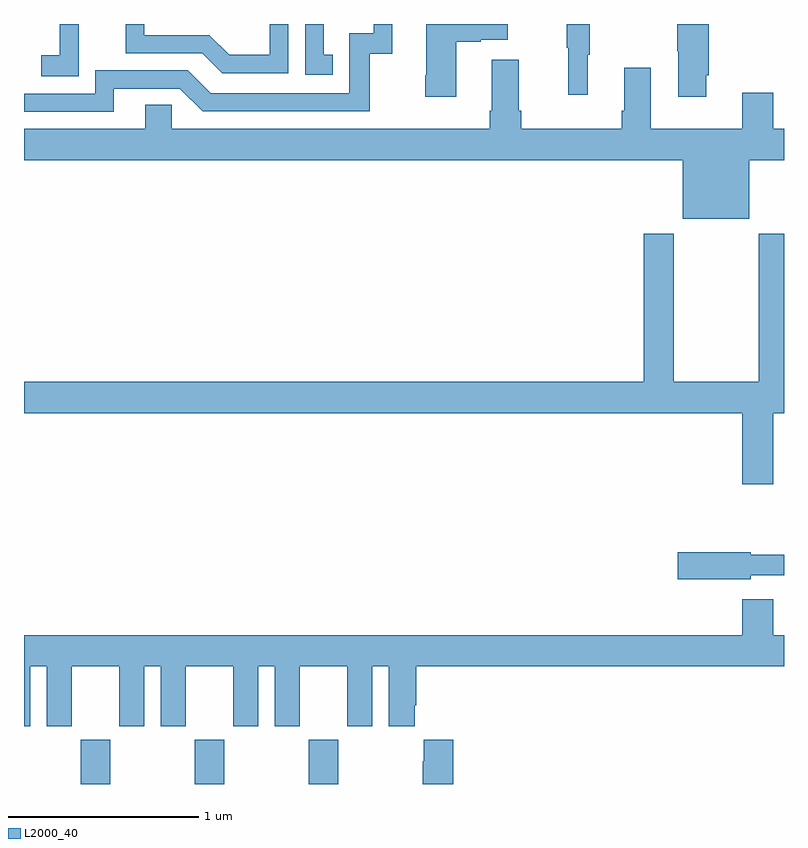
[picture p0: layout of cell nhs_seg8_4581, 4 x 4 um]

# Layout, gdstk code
import gdstk
lib = gdstk.Library(unit=1e-6, precision=1e-09)
def R(c, l, rs):  # rectangles x0, y0, x1, y1
    for r in rs: c.add(gdstk.rectangle(r[:2], r[2:], *l))
def A(c, l, x, y, w, h, nx, ny, dx, dy):  # array of equal rectangles
    R(c, l, [(x+i*dx, y+j*dy, x+i*dx+w, y+j*dy+h) for i in range(nx) for j in range(ny)])
def P(c, l, *ps):  # polygons
    for p in ps: c.add(gdstk.Polygon(p, *l))
L2000_40 = (2000, 40)

nhs_seg8_4581 = lib.new_cell('nhs_seg8_4581')
A(nhs_seg8_4581, L2000_40, 389.299, 1095.9, 0.155, 0.232, 3, 1, 0.6, 0)
P(nhs_seg8_4581, L2000_40, [(392.59,1099.63),(392.603,1099.63),(392.603,1099.9),(392.437,1099.9),(392.437,1099.756),(392.444,1099.756),(392.444,1099.518),(392.59,1099.518)],
  [(390.626,1099.737),(390.577,1099.737),(390.577,1099.9),(390.48,1099.9),(390.48,1099.632),(390.626,1099.632)],
  [(389.473,1099.56),(389.82,1099.56),(389.94,1099.44),(390.82,1099.44),(390.82,1099.743),(390.938,1099.743),(390.938,1099.9),(390.84,1099.9),(390.84,1099.851),(390.711,1099.851),(390.711,1099.536),(389.982,1099.536),(389.862,1099.656),(389.376,1099.656),(389.376,1099.533),(389,1099.533),(389,1099.437),(389.473,1099.437)],
  [(390.39,1099.9),(390.294,1099.9),(390.294,1099.738),(390.08,1099.738),(389.976,1099.842),(389.634,1099.842),(389.634,1099.9),(389.536,1099.9),(389.536,1099.746),(389.939,1099.746),(390.044,1099.641),(390.39,1099.641)],
  [(391.967,1099.739),(391.978,1099.739),(391.978,1099.9),(391.857,1099.9),(391.857,1099.776),(391.864,1099.776),(391.864,1099.527),(391.967,1099.527)],
  [(391.276,1099.807),(391.403,1099.807),(391.403,1099.817),(391.546,1099.817),(391.546,1099.9),(391.118,1099.9),(391.118,1099.63),(391.111,1099.63),(391.111,1099.518),(391.276,1099.518)],
  [(389.289,1099.831),(389.288,1099.831),(389.288,1099.9),(389.189,1099.9),(389.189,1099.735),(389.091,1099.735),(389.091,1099.625),(389.289,1099.625)],
  [(392.818,1099.184),(393,1099.184),(393,1099.348),(392.944,1099.348),(392.944,1099.537),(392.78,1099.537),(392.78,1099.348),(392.299,1099.348),(392.299,1099.669),(392.159,1099.669),(392.159,1099.444),(392.147,1099.444),(392.147,1099.348),(391.616,1099.348),(391.616,1099.444),(391.603,1099.444),(391.603,1099.711),(391.463,1099.711),(391.463,1099.444),(391.451,1099.444),(391.451,1099.348),(389.778,1099.348),(389.778,1099.475),(389.639,1099.475),(389.639,1099.348),(389,1099.348),(389,1099.184),(392.468,1099.184),(392.468,1098.875),(392.818,1098.875)],
  [(392.944,1097.852),(393,1097.852),(393,1098.796),(392.866,1098.796),(392.866,1098.016),(392.421,1098.016),(392.421,1098.796),(392.261,1098.796),(392.261,1098.016),(389,1098.016),(389,1097.852),(392.78,1097.852),(392.78,1097.478),(392.944,1097.478)],
  [(392.826,1096.998),(393,1096.998),(393,1097.107),(392.826,1097.107),(392.826,1097.12),(392.442,1097.12),(392.442,1096.978),(392.826,1096.978)],
  [(389.032,1096.52),(389.12,1096.52),(389.12,1096.203),(389.251,1096.203),(389.251,1096.52),(389.501,1096.52),(389.501,1096.203),(389.632,1096.203),(389.632,1096.52),(389.72,1096.52),(389.72,1096.203),(389.851,1096.203),(389.851,1096.52),(390.101,1096.52),(390.101,1096.203),(390.232,1096.203),(390.232,1096.52),(390.32,1096.52),(390.32,1096.203),(390.451,1096.203),(390.451,1096.52),(390.701,1096.52),(390.701,1096.203),(390.832,1096.203),(390.832,1096.52),(390.92,1096.52),(390.92,1096.203),(391.057,1096.203),(391.057,1096.315),(391.064,1096.315),(391.064,1096.52),(393,1096.52),(393,1096.684),(392.944,1096.684),(392.944,1096.873),(392.78,1096.873),(392.78,1096.684),(389,1096.684),(389,1096.203),(389.032,1096.203)],
  [(391.259,1096.132),(391.103,1096.132),(391.103,1096.019),(391.099,1096.019),(391.099,1095.9),(391.259,1095.9)])

lib.write_gds('nhs_seg8_4581.gds')
